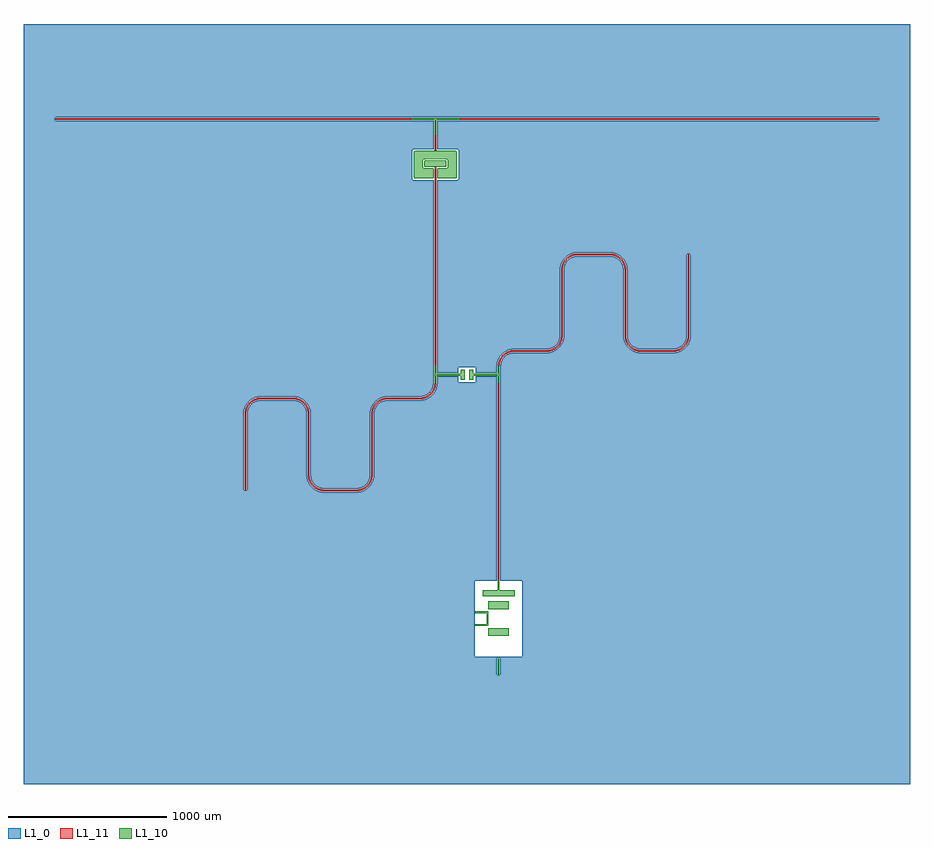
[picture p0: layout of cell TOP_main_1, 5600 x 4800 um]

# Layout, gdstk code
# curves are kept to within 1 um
import gdstk
lib = gdstk.Library(unit=1e-6, precision=1e-09)
def R(c, l, rs):  # rectangles x0, y0, x1, y1
    for r in rs: c.add(gdstk.rectangle(r[:2], r[2:], *l))
def P(c, l, *ps):  # polygons
    for p in ps: c.add(gdstk.Polygon(p, *l))
L1_0 = (1, 0)
L1_10 = (1, 10)
L1_11 = (1, 11)

ground_main_1 = lib.new_cell('ground_main_1')
R(ground_main_1, L1_0, [(-1016.719,1611,-650.126,2200), (-650.126,1611,-346.942,2200), (-346.942,1611,-55.414,2200), (-55.414,1611,299,2200), (299,1611,649.01,2200), (649.01,1611,1015.814,2200)])
P(ground_main_1, L1_0, [(-1016.719,-2600),(-1016.719,-232.795),(-1028.12,-211.846),(-1036.775,-201.775),(-1046.846,-193.12),(-1058.104,-186.08),(-1070.294,-180.814),(-1093.687,-176.161),(-1311.607,-176.642),(-1329.706,-180.814),(-1344.23,-187.351),(-1359.355,-198.131),(-1370.272,-209.729),(-1378.92,-223.104),(-1384.186,-235.294),(-1387.559,-248.138),(-1388.96,-261.342),(-1389,-745.727),(-1411,-745.727),(-1410.96,-261.021),(-1409.551,-246.204),(-1405.242,-228.877),(-1399.546,-215.126),(-1390.341,-199.827),(-1374.457,-182.121),(-1352.525,-166.814),(-1327.547,-157.251),(-1303.979,-154.04),(-1084.15,-155.007),(-1063.877,-159.758),(-1047.475,-166.814),(-1030.084,-178.265),(-1016.719,-191.005),(-1016.719,1589),(-2600,1589),(-2600,1611),(-1016.719,1611),(-1016.719,2200),(-2800,2200),(-2800,-2600)],
  [(-696.342,-734.687),(-672.82,-730.742),(-650.126,-719.895),(-650.126,1589),(-1016.719,1589),(-1016.719,-191.005),(-1004.746,-207.289),(-996.813,-223.285),(-991.572,-240.353),(-989.161,-258.045),(-987.998,-659.968),(-985.015,-672.907),(-980.12,-685.25),(-966.869,-705.081),(-957.339,-714.328),(-946.526,-722.035),(-934.676,-728.028),(-922.06,-732.17),(-901,-734.727)],
  [(-650.126,-745.273),(-672.453,-753.475),(-693.045,-756.565),(-912.893,-756.082),(-936.123,-750.969),(-957.711,-740.981),(-974.457,-728.605),(-990.341,-710.9),(-998.186,-698.252),(-1004.253,-684.66),(-1009.029,-667.456),(-1010.839,-652.682),(-1011,-264),(-1012.441,-248.138),(-1016.719,-232.795),(-1016.719,-2600),(-650.126,-2600)],
  [(-649.01,-719.149),(-634.924,-707.044),(-623.691,-692.252),(-615.814,-675.433),(-611.361,-654.691),(-610.96,-261.021),(-607.749,-237.453),(-598.186,-212.475),(-584.838,-192.788),(-567.569,-176.43),(-547.188,-164.167),(-524.647,-156.572),(-503.979,-154.04),(-346.942,-154),(-346.942,1589),(-650.126,1589),(-650.126,-719.895)],
  [(-501,-176),(-516.862,-177.441),(-529.706,-180.814),(-541.896,-186.08),(-555.271,-194.728),(-566.869,-205.645),(-574.899,-216.22),(-581.247,-227.884),(-586.443,-242.94),(-589,-264),(-590.007,-661.577),(-596.813,-687.442),(-609.659,-710.9),(-627.788,-730.564),(-650.126,-745.273),(-650.126,-2600),(-346.942,-2600),(-346.942,-176)],
  [(-189,1589),(-189,1410),(-65,1410),(-59.343,1408.583),(-55.414,1405.195),(-55.414,1589)],
  [(-346.769,1400.341),(-342.613,1407.276),(-336.176,1409.942),(-211,1410),(-211,1589),(-346.942,1589)],
  [(-299,-154),(-283.138,-152.559),(-265.324,-147.301),(-251.22,-139.899),(-238.682,-130.076),(-228.12,-118.154),(-219.88,-104.524),(-213.557,-87.06),(-211.161,-71.313),(-211,1213),(-336.176,1213.058),(-343.485,1216.515),(-346.942,1223.824),(-346.942,-154)],
  [(-56,31.5),(-55.414,1217.805),(-59.343,1214.417),(-65,1213),(-189,1213),(-189,-4),(-56,-4)],
  [(-55.414,-62.914),(-56,-26),(-189,-26),(-189.161,-71.955),(-193.01,-95.428),(-197.953,-109.467),(-204.746,-122.711),(-213.265,-134.916),(-223.353,-145.86),(-234.827,-155.341),(-247.475,-163.186),(-272.453,-172.749),(-293.045,-175.839),(-346.942,-176),(-346.942,-2600),(-55.414,-2600)],
  [(-55.111,33.163),(54.581,33.414),(56,31.5),(56,-4),(189,-4),(189.04,38.979),(190.971,56.729),(197.953,79.467),(209.659,100.173),(227.788,119.838),(250.126,134.546),(272.453,142.749),(299,146),(299,1589),(-55.414,1589),(-55.414,1405.195),(-53,1398),(-53,1225),(-55.414,1217.805)],
  [(299,124),(283.138,122.559),(265.324,117.301),(251.22,109.899),(238.682,100.076),(228.12,88.154),(219.88,74.524),(213.557,57.06),(211.161,41.313),(211,-1315),(299,-1315)],
  [(299,-1795),(50,-1795),(50,-1315),(189,-1315),(189,-26),(56,-26),(56,-61.5),(54.581,-63.414),(-55.414,-62.914),(-55.414,-1910),(189,-1910),(189,-1804),(211,-1804),(211,-1910),(-55.414,-1910),(-55.414,-2600),(299,-2600)],
  [(503.658,146.04),(516.862,147.441),(532.205,151.719),(546.526,158.691),(557.339,166.399),(566.869,175.645),(576.309,188.474),(582.301,200.324),(586.443,212.94),(589,234),(589.645,657.995),(595.747,684.035),(607.954,707.832),(625.543,727.98),(649.01,744.076),(649.01,1589),(299,1589),(299,146)],
  [(649.01,718.524),(634.924,706.419),(623.691,691.627),(615.814,674.808),(611.361,654.066),(610.96,231.021),(609.551,216.204),(606.155,201.713),(595.254,177.289),(580.86,158.353),(562.731,142.954),(541.715,131.813),(521.729,125.971),(501,124),(299,124),(299,-1315),(350,-1315),(350,-1795),(299,-1795),(299,-2600),(649.01,-2600)],
  [(649.01,1589),(649.01,744.076),(669.572,752.092),(693.045,755.94),(912.893,755.457),(936.123,750.344),(957.711,740.356),(976.647,725.961),(992.046,707.832),(999.546,694.976),(1005.242,681.225),(1009.029,666.831),(1010.839,652.057),(1011,234),(1012.441,218.138),(1015.814,205.294),(1015.814,1589)],
  [(1015.814,162.041),(1006.316,174.758),(997.953,190.533),(992.251,207.453),(989.363,225.073),(988.96,648.76),(985.015,672.282),(974.899,693.881),(961.318,710.178),(946.526,721.41),(929.706,729.288),(908.964,733.741),(693.687,733.941),(670.294,729.288),(649.01,718.524),(649.01,-2600),(1015.814,-2600)],
  [(2800,2200),(1015.814,2200),(1015.814,1611),(2600,1611),(2600,1589),(1015.814,1589),(1015.814,205.294),(1019.88,195.476),(1033.131,175.645),(1051.22,160.101),(1072.82,149.985),(1096.342,146.04),(1314.241,147.002),(1329.706,150.814),(1346.526,158.691),(1361.318,169.924),(1373.423,184.01),(1384.186,205.294),(1387.559,218.138),(1388.96,231.342),(1389,745.102),(1411,745.102),(1410.96,231.021),(1409.551,216.204),(1406.155,201.713),(1399.546,185.126),(1392.046,172.269),(1374.457,152.121),(1352.525,136.814),(1327.547,127.251),(1303.979,124.04),(1084.15,125.007),(1063.877,129.758),(1047.475,136.814),(1030.084,148.265),(1015.814,162.041),(1015.814,-2600),(2800,-2600)])

top_main_1 = lib.new_cell('TOP_main_1')
P(top_main_1, L1_10, [(-205,1500),(-205,1595),(-350,1595),(-350,1605),(-50,1605),(-50,1595),(-195,1595),(-195,1500),(-205,1500)],
  [(-270,1330),(-267.657,1335.657),(-262.784,1337.961),(-136.439,1337.846),(-132.343,1335.657),(-130.154,1331.561),(-130.154,1303.439),(-132.925,1298.816),(-138,1297),(-263.561,1297.154),(-267.657,1299.343),(-269.846,1303.439)],
  [(-218.902,1225.005),(-213.779,1226.948),(-211.067,1232.022),(-211.861,1284.594),(-218.022,1288.933),(-270,1289),(-275.075,1290.816),(-277.961,1296.216),(-278,1338),(-275.657,1343.657),(-270.784,1345.961),(-211,1346),(-211,1398),(-326.902,1398),(-331.276,1396.753),(-333.954,1393.94),(-335,1389.902),(-335,1233.098),(-333.753,1228.724),(-327.098,1225.005)],
  [(-72.902,1225.005),(-67.489,1227.211),(-65.005,1232.902),(-65,1389.902),(-66.699,1394.917),(-73.098,1398),(-211,1398),(-211,1346),(-129.216,1345.961),(-124.343,1343.657),(-122.039,1338.784),(-122.039,1296.216),(-124.925,1290.816),(-130,1289),(-181.588,1288.971),(-187.954,1284.94),(-189,1233.098),(-187.301,1228.083),(-181.098,1225.005)],
  [(-195,35),(-195,-10),(-40,-10),(-39.546,16.769),(-16.235,17.348),(-15,15.5),(-15.152,-46.265),(-17,-47.5),(-39.414,-46.914),(-40,-20),(-195,-20),(-195,-65),(-205,-65),(-205,35)],
  [(16.804,-47.49),(15,-45.5),(15,15.5),(16.235,17.348),(39.546,16.769),(40,-10),(195,-10),(195,35),(205,35),(205,-65),(195,-65),(195,-20),(40,-20),(39.546,-46.769)],
  [(135,-1495),(265,-1495),(265,-1445),(135,-1445),(135,-1495)],
  [(135,-1665),(265,-1665),(265,-1615),(135,-1615),(135,-1665)],
  [(49,-1600),(49,-1590),(125,-1590),(125,-1520),(50,-1520),(50,-1510),(125,-1510),(135,-1510),(135,-1520),(135,-1590),(135,-1600),(125,-1600),(49,-1600)],
  [(300,-1375),(300,-1415),(100,-1415),(100,-1375),(195,-1375),(195,-1315),(205,-1315),(205,-1375),(300,-1375)],
  [(195,-1910),(205,-1910),(205,-1810),(195,-1810),(195,-1910)])
R(top_main_1, L1_11, [(195,-1315,205,-65), (-205,35,-195,1185), (-205,1185,-195,1297.001), (-205,1397.999,-195,1450), (-205,1450,-195,1500), (-2600,1595,-350,1605), (-50,1595,2600,1605)])
P(top_main_1, L1_11, [(-1395,-264),(-1393.572,-247.677),(-1389.331,-231.85),(-1382.406,-217),(-1373.008,-203.578),(-1361.422,-191.992),(-1348,-182.594),(-1333.15,-175.669),(-1317.323,-171.428),(-1301,-170),(-1088.087,-170.636),(-1072.04,-173.949),(-1054.388,-181.261),(-1040.698,-190.265),(-1028.78,-201.509),(-1028.78,-187.29),(-1037.408,-180.2),(-1059.864,-167.645),(-1084.715,-160.986),(-1301,-160),(-1326.53,-163.182),(-1350.499,-172.535),(-1369.302,-185.573),(-1386.465,-204.74),(-1399.365,-230.231),(-1403.582,-246.882),(-1404.961,-261.134),(-1405,-745.727),(-1395,-745.727)],
  [(-699,-740.727),(-901,-740.727),(-917.323,-739.299),(-938.231,-733.039),(-954.916,-723.727),(-969.373,-711.233),(-982.406,-693.727),(-991.797,-671.056),(-994.96,-649.461),(-995.355,-255.412),(-998.924,-235.701),(-1006.206,-217.041),(-1016.929,-200.122),(-1028.78,-187.29),(-1028.78,-201.509),(-1020.464,-212.346),(-1012.688,-226.769),(-1008.203,-239.671),(-1005.358,-255.807),(-1004.961,-649.592),(-1001.076,-675.025),(-989.6,-701.189),(-975.545,-719.246),(-957.883,-733.792),(-937.466,-744.124),(-915.285,-749.741),(-699,-750.727)],
  [(-696.134,-750.687),(-679.062,-748.798),(-662.534,-744.124),(-647,-736.793),(-632.885,-727.006),(-620.573,-715.029),(-610.4,-701.189),(-602.645,-685.863),(-597.517,-669.469),(-595,-646.727),(-594.841,-258.534),(-592.466,-242.322),(-587.312,-226.769),(-579.536,-212.346),(-569.373,-199.493),(-569.373,-185.636),(-583.071,-200.122),(-593.794,-217.041),(-601.076,-235.701),(-604.645,-255.412),(-605,-646.727),(-607.534,-668.405),(-611.641,-681.432),(-617.594,-693.727),(-625.265,-705.029),(-634.493,-715.1),(-647.346,-725.263),(-664.295,-734.085),(-682.677,-739.299),(-699,-740.727),(-699,-750.727)],
  [(-567.468,-197.532),(-554.916,-187),(-540.726,-178.807),(-527.96,-173.949),(-511.913,-170.636),(-296.134,-169.961),(-281.882,-168.582),(-265.231,-164.365),(-249.501,-157.465),(-235.122,-148.071),(-224.455,-138.519),(-213.535,-125.26),(-204.947,-110.385),(-199.742,-97.046),(-195.986,-80.285),(-195,-65),(-205,-65),(-205.992,-79.624),(-209.771,-95.567),(-216.261,-110.612),(-225.265,-124.302),(-242.867,-141.4),(-254.388,-148.739),(-266.85,-154.331),(-282.677,-158.572),(-296.266,-159.96),(-515.285,-160.986),(-537.466,-166.603),(-560.26,-178.535),(-569.373,-185.636),(-569.373,-199.493)],
  [(205,36),(205.992,49.624),(209.771,65.567),(214.999,78.187),(222,89.916),(230.627,100.507),(242.867,111.4),(254.388,118.739),(266.85,124.331),(282.677,128.572),(296.266,129.96),(501,130),(518.118,131.418),(540.136,137.645),(562.592,150.2),(571.22,157.29),(571.22,171.509),(559.302,160.265),(545.612,151.261),(527.96,143.949),(511.913,140.636),(296.134,139.961),(279.062,138.071),(262.534,133.397),(244.538,124.6),(230.698,114.427),(218.721,102.115),(208.933,88),(199.742,67.046),(195.355,44.588),(195,35),(205,35)],
  [(571.437,157.485),(584.8,172.408),(595.053,189.615),(601.818,208.47),(604.645,225.412),(605.04,648.836),(608.203,670.431),(616.261,690.714),(628.78,708.593),(642.867,721.501),(659.274,731.295),(679.992,738.16),(699,740.102),(901,740.102),(901,750.102),(699,750.102),(679.062,748.173),(657.224,741.342),(637.408,729.901),(620.573,714.404),(607.535,695.6),(598.182,671.632),(595.039,648.967),(594.841,228.534),(593.058,214.992),(588.359,199.295),(581.005,184.652),(571.22,171.509)],
  [(1030.627,169.493),(1020.464,182.346),(1012.688,196.769),(1007.534,212.322),(1005.159,228.534),(1005,646.102),(1002.483,668.845),(997.355,685.238),(989.6,700.564),(979.427,714.404),(967.115,726.381),(950.499,737.567),(934.769,744.467),(918.118,748.683),(901,750.102),(901,740.102),(917.323,738.674),(933.15,734.433),(950.348,726.107),(963.491,716.322),(973.008,706.524),(981.005,695.45),(988.359,680.807),(992.466,667.78),(995,646.102),(995.355,225.412),(1000.635,200.231),(1010.4,179.538),(1018.721,167.885),(1030.627,155.636)],
  [(1303.866,130.039),(1320.938,131.929),(1337.466,136.603),(1355.462,145.4),(1369.302,155.573),(1381.279,167.885),(1391.067,182),(1399.365,200.231),(1403.582,216.882),(1405,234),(1405,745.102),(1395,745.102),(1394.841,228.534),(1390.229,204.433),(1379.536,182.346),(1365.507,165.627),(1345.612,151.261),(1325.329,143.203),(1303.734,140.04),(1088.087,140.636),(1072.04,143.949),(1056.813,149.999),(1042.867,158.6),(1030.627,169.493),(1030.627,155.636),(1039.74,148.535),(1062.534,136.603),(1084.715,130.986)])
top_main_1.add(gdstk.Reference(ground_main_1, (0,0)))

lib.write_gds('TOP_main_1.gds')
